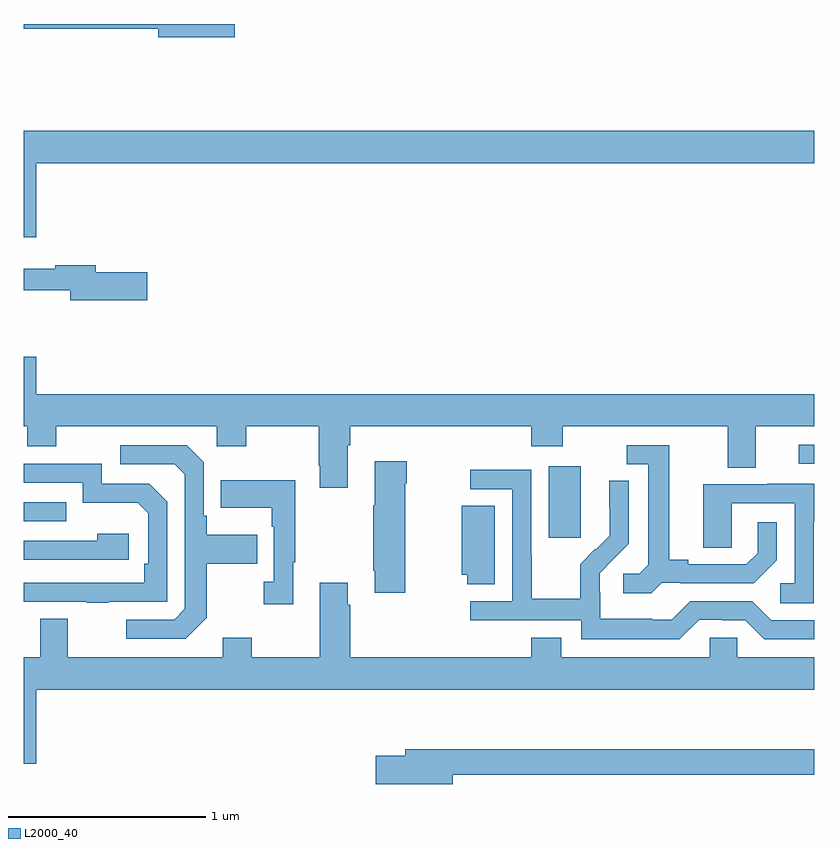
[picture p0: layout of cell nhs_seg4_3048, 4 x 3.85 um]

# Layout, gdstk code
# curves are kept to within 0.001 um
import gdstk
lib = gdstk.Library(unit=1e-6, precision=1e-09)
def R(c, l, rs):  # rectangles x0, y0, x1, y1
    for r in rs: c.add(gdstk.rectangle(r[:2], r[2:], *l))
def P(c, l, *ps):  # polygons
    for p in ps: c.add(gdstk.Polygon(p, *l))
L2000_40 = (2000, 40)

nhs_seg4_3048 = lib.new_cell('nhs_seg4_3048')
R(nhs_seg4_3048, L2000_40, [(275.657,752.301,275.818,752.662), (273,752.385,273.215,752.481), (276.921,752.676,277,752.772)])
P(nhs_seg4_3048, L2000_40, [(274.069,754.9),(273,754.9),(273,754.876),(273.68,754.876),(273.68,754.834),(274.069,754.834)],
  [(273.064,754.196),(277,754.196),(277,754.36),(273,754.36),(273,753.822),(273.064,753.822)],
  [(273.625,753.644),(273.364,753.644),(273.364,753.68),(273.16,753.68),(273.16,753.661),(273,753.661),(273,753.552),(273.236,753.552),(273.236,753.502),(273.625,753.502)],
  [(274.639,752.768),(274.652,752.768),(274.652,752.864),(275.567,752.864),(275.567,752.765),(275.727,752.765),(275.727,752.864),(276.563,752.864),(276.563,752.656),(276.703,752.656),(276.703,752.864),(277,752.864),(277,753.028),(273.064,753.028),(273.064,753.217),(273,753.217),(273,752.864),(273.017,752.864),(273.017,752.765),(273.165,752.765),(273.165,752.864),(273.978,752.864),(273.978,752.765),(274.125,752.765),(274.125,752.864),(274.492,752.864),(274.492,752.665),(274.499,752.665),(274.499,752.553),(274.639,752.553)],
  [(276.228,752.073),(276.322,752.073),(276.322,752.07),(276.694,752.07),(276.81,752.186),(276.81,752.38),(276.713,752.38),(276.713,752.223),(276.656,752.166),(276.361,752.166),(276.361,752.189),(276.265,752.189),(276.265,752.769),(276.051,752.769),(276.051,752.673),(276.161,752.673),(276.161,752.165),(276.114,752.118),(276.033,752.118),(276.033,752.021),(276.176,752.021)],
  [(273.925,751.897),(273.925,752.17),(274.181,752.17),(274.181,752.317),(273.925,752.317),(273.925,752.413),(273.912,752.413),(273.912,752.682),(273.825,752.769),(273.489,752.769),(273.489,752.673),(273.765,752.673),(273.816,752.622),(273.816,751.941),(273.762,751.887),(273.519,751.887),(273.519,751.791),(273.819,751.791)],
  [(274.93,752.576),(274.938,752.576),(274.938,752.689),(274.775,752.689),(274.775,752.465),(274.768,752.465),(274.768,752.134),(274.775,752.134),(274.775,752.022),(274.93,752.022)],
  [(273.431,751.977),(273.726,751.977),(273.726,752.484),(273.636,752.574),(273.396,752.574),(273.396,752.676),(273,752.676),(273,752.58),(273.3,752.58),(273.3,752.477),(273.577,752.477),(273.63,752.424),(273.63,752.17),(273.61,752.17),(273.61,752.073),(273,752.073),(273,751.977),(273.319,751.977),(273.319,751.972),(273.431,751.972)],
  [(276.417,751.887),(276.533,751.887),(276.533,751.884),(276.651,751.884),(276.747,751.788),(277,751.788),(277,751.884),(276.783,751.884),(276.687,751.98),(276.372,751.98),(276.279,751.887),(276.179,751.887),(276.179,751.891),(275.916,751.891),(275.916,752.025),(275.914,752.025),(275.914,752.122),(276.06,752.27),(276.06,752.588),(275.963,752.588),(275.963,752.447),(275.966,752.447),(275.966,752.312),(275.895,752.241),(275.892,752.244),(275.815,752.167),(275.815,751.993),(275.571,751.993),(275.571,752.213),(275.568,752.213),(275.568,752.646),(275.259,752.646),(275.259,752.547),(275.472,752.547),(275.472,751.98),(275.259,751.98),(275.259,751.884),(275.82,751.884),(275.82,751.787),(276.317,751.787)],
  [(274.363,752.177),(274.375,752.177),(274.375,752.593),(273.997,752.593),(273.997,752.453),(274.254,752.453),(274.254,752.357),(274.266,752.357),(274.266,752.078),(274.215,752.078),(274.215,751.965),(274.363,751.965)],
  [(276.996,752.385),(277,752.385),(277,752.575),(276.761,752.575),(276.761,752.571),(276.437,752.571),(276.437,752.251),(276.582,752.251),(276.582,752.475),(276.9,752.475),(276.9,752.07),(276.828,752.07),(276.828,751.969),(276.996,751.969)],
  [(275.383,752.462),(275.216,752.462),(275.216,752.114),(275.245,752.114),(275.245,752.065),(275.383,752.065)],
  [(273.532,752.32),(273.371,752.32),(273.371,752.286),(273,752.286),(273,752.19),(273.532,752.19)],
  [(273.064,751.532),(277,751.532),(277,751.696),(276.609,751.696),(276.609,751.794),(276.471,751.794),(276.471,751.696),(275.719,751.696),(275.719,751.795),(275.567,751.795),(275.567,751.696),(274.652,751.696),(274.652,751.961),(274.639,751.961),(274.639,752.074),(274.499,752.074),(274.499,751.696),(274.155,751.696),(274.155,751.795),(274.007,751.795),(274.007,751.696),(273.223,751.696),(273.223,751.891),(273.083,751.891),(273.083,751.696),(273,751.696),(273,751.158),(273.064,751.158)],
  [(275.17,751.102),(277,751.102),(277,751.231),(274.931,751.231),(274.931,751.197),(274.782,751.197),(274.782,751.055),(275.17,751.055)])

lib.write_gds('nhs_seg4_3048.gds')
